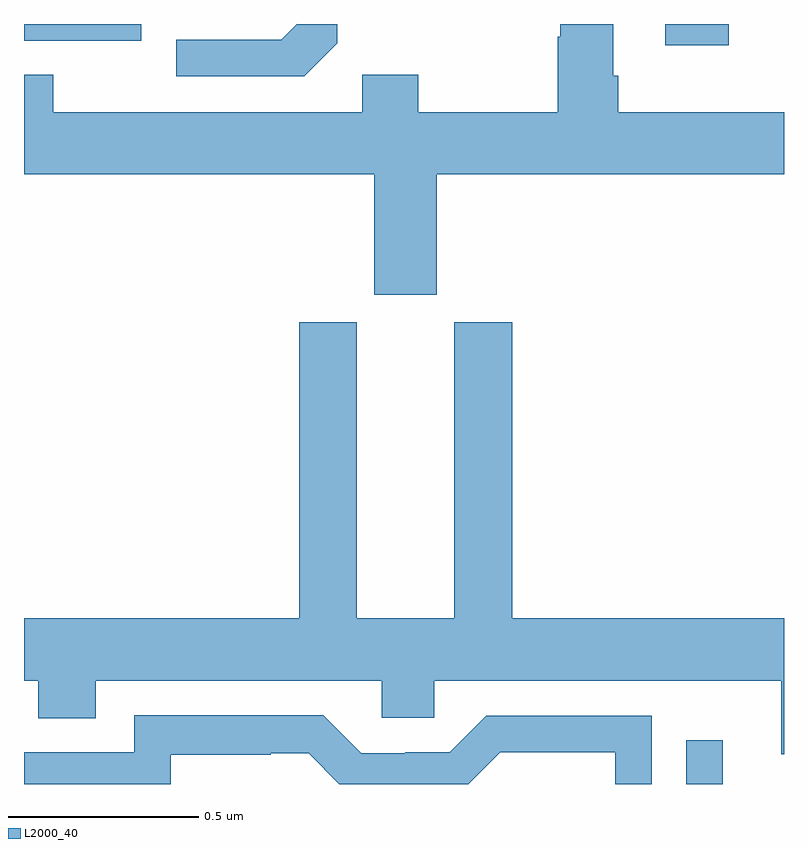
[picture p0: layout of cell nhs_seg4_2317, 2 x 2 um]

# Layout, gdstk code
import gdstk
lib = gdstk.Library(unit=1e-6, precision=1e-09)
def R(c, l, rs):  # rectangles x0, y0, x1, y1
    for r in rs: c.add(gdstk.rectangle(r[:2], r[2:], *l))
def P(c, l, *ps):  # polygons
    for p in ps: c.add(gdstk.Polygon(p, *l))
L2000_40 = (2000, 40)

nhs_seg4_2317 = lib.new_cell('nhs_seg4_2317')
R(nhs_seg4_2317, L2000_40, [(140.743,777.9,140.839,778.015), (140.687,779.844,140.855,779.9), (139,779.856,139.308,779.9)])
P(nhs_seg4_2317, L2000_40, [(139.824,779.85),(139.824,779.9),(139.718,779.9),(139.677,779.859),(139.401,779.859),(139.401,779.763),(139.737,779.763)],
  [(140.086,779.504),(141,779.504),(141,779.668),(140.564,779.668),(140.564,779.764),(140.551,779.764),(140.551,779.9),(140.411,779.9),(140.411,779.867),(140.404,779.867),(140.404,779.668),(140.037,779.668),(140.037,779.767),(139.89,779.767),(139.89,779.668),(139.077,779.668),(139.077,779.767),(139,779.767),(139,779.504),(139.922,779.504),(139.922,779.187),(140.086,779.187)],
  [(141,778.336),(140.285,778.336),(140.285,779.115),(140.132,779.115),(140.132,778.336),(139.876,778.336),(139.876,779.115),(139.724,779.115),(139.724,778.336),(139,778.336),(139,778.172),(139.037,778.172),(139.037,778.073),(139.189,778.073),(139.189,778.172),(139.941,778.172),(139.941,778.074),(140.079,778.074),(140.079,778.172),(140.993,778.172),(140.993,777.978),(141,777.978)],
  [(139.386,777.977),(139.649,777.977),(139.649,777.981),(139.749,777.981),(139.83,777.9),(140.169,777.9),(140.253,777.984),(140.556,777.984),(140.556,777.9),(140.652,777.9),(140.652,778.08),(140.217,778.08),(140.121,777.984),(140.003,777.984),(140.003,777.981),(139.887,777.981),(139.787,778.081),(139.29,778.081),(139.29,777.984),(139,777.984),(139,777.9),(139.386,777.9)])

lib.write_gds('nhs_seg4_2317.gds')
